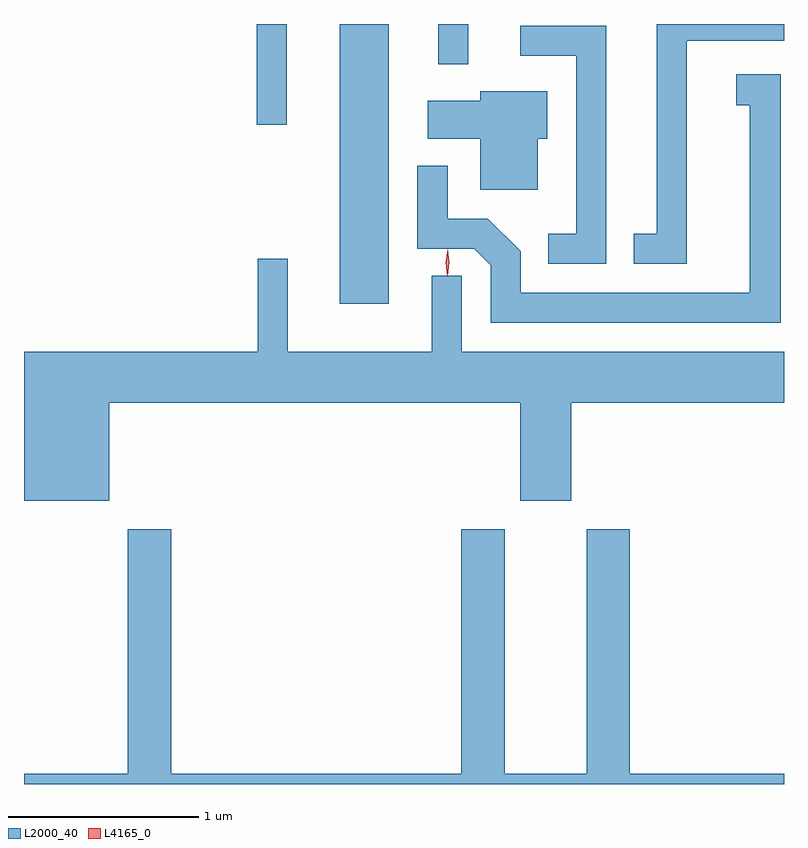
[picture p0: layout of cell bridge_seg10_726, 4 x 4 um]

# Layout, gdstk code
import gdstk
lib = gdstk.Library(unit=1e-6, precision=1e-09)
def R(c, l, rs):  # rectangles x0, y0, x1, y1
    for r in rs: c.add(gdstk.rectangle(r[:2], r[2:], *l))
def P(c, l, *ps):  # polygons
    for p in ps: c.add(gdstk.Polygon(p, *l))
L2000_40 = (2000, 40)
L4165_0 = (4165, 0)

bridge_seg10_726 = lib.new_cell('bridge_seg10_726')
R(bridge_seg10_726, L2000_40, [(547.866,2098.896,548.124,2100.369), (547.431,2099.838,547.589,2100.369), (548.386,2100.158,548.544,2100.369)])
P(bridge_seg10_726, L2000_40, [(549.694,2100.281),(550.205,2100.281),(550.205,2100.369),(549.536,2100.369),(549.536,2099.264),(549.413,2099.264),(549.413,2099.106),(549.694,2099.106)],
  [(549.269,2100.359),(548.818,2100.359),(548.818,2100.201),(549.111,2100.201),(549.111,2099.264),(548.963,2099.264),(548.963,2099.106),(549.269,2099.106)],
  [(550.189,2100.104),(549.953,2100.104),(549.953,2099.941),(550.026,2099.941),(550.026,2098.954),(548.819,2098.954),(548.819,2099.172),(548.647,2099.344),(548.434,2099.344),(548.434,2099.623),(548.276,2099.623),(548.276,2099.186),(548.574,2099.186),(548.661,2099.099),(548.661,2098.796),(550.189,2098.796)],
  [(548.909,2099.766),(548.959,2099.766),(548.959,2100.014),(548.606,2100.014),(548.606,2099.964),(548.331,2099.964),(548.331,2099.766),(548.606,2099.766),(548.606,2099.496),(548.909,2099.496)],
  [(546.654,2098.376),(548.816,2098.376),(548.816,2097.861),(549.084,2097.861),(549.084,2098.376),(550.205,2098.376),(550.205,2098.644),(548.509,2098.644),(548.509,2099.043),(548.351,2099.043),(548.351,2098.644),(547.594,2098.644),(547.594,2099.133),(547.436,2099.133),(547.436,2098.644),(546.205,2098.644),(546.205,2097.861),(546.654,2097.861)],
  [(550.205,2096.424),(549.394,2096.424),(549.394,2097.709),(549.166,2097.709),(549.166,2096.424),(548.734,2096.424),(548.734,2097.709),(548.506,2097.709),(548.506,2096.424),(546.979,2096.424),(546.979,2097.709),(546.751,2097.709),(546.751,2096.424),(546.205,2096.424),(546.205,2096.369),(550.205,2096.369)])
P(bridge_seg10_726, L4165_0, [(548.433,2099.044),(548.433,2099.045),(548.424,2099.114),(548.434,2099.183),(548.434,2099.184),(548.435,2099.183),(548.444,2099.114),(548.434,2099.045)],
  [(548.433,2099.048),(548.424,2099.114),(548.435,2099.18),(548.435,2099.181),(548.436,2099.18),(548.444,2099.114),(548.434,2099.048),(548.434,2099.048)])

lib.write_gds('bridge_seg10_726.gds')
